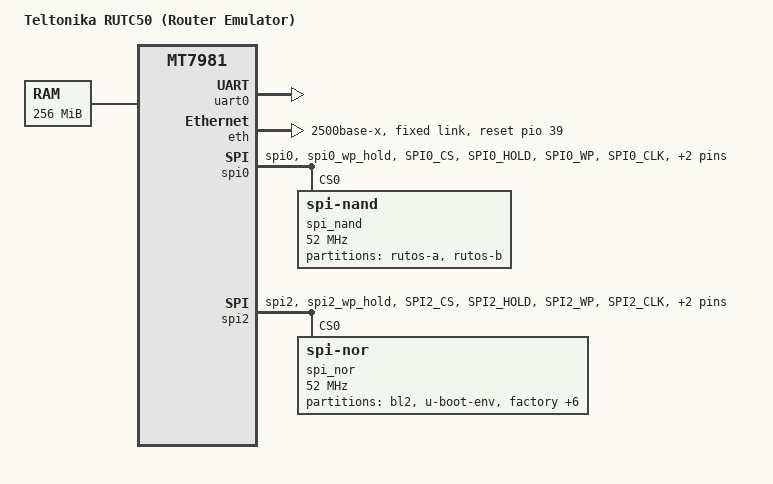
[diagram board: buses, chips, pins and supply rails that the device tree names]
// SPDX-License-Identifier: GPL-2.0
/*
 * Teltonika RUTC50 for the Router Emulator: the MT7981 RFB SPI-NOR U-Boot
 * with the RUTC50 flash layout (SPI-NOR bootloader + config, SPI-NAND
 * rutos-a / rutos-b UBI), replacing the Teltonika bootloader.
 * Based on mt7981-rfb.dts, Copyright (c) 2022 MediaTek Inc.
 */

/dts-v1/;
#include "mt7981.dtsi"
#include <dt-bindings/gpio/gpio.h>

/ {
	#address-cells = <1>;
	#size-cells = <1>;
	model = "Teltonika RUTC50 (Router Emulator)";
	compatible = "teltonika,rutc50", "mediatek,mt7981";
	chosen {
		stdout-path = &uart0;
		tick-timer = &timer0;
	};

	memory@40000000 {
		device_type = "memory";
		reg = <0x40000000 0x10000000>;
	};
};

&uart0 {
	status = "okay";
};

&uart1 {
	pinctrl-names = "default";
	pinctrl-0 = <&uart1_pins>;
	status = "disabled";
};

&eth {
	status = "okay";
	mediatek,gmac-id = <0>;
	phy-mode = "2500base-x";
	mediatek,switch = "auto";
	reset-gpios = <&pio 39 GPIO_ACTIVE_HIGH>;

	fixed-link {
		speed = <2500>;
		full-duplex;
	};
};

&pio {
	spi_flash_pins: spi0-pins-func-1 {
		mux {
			function = "flash";
			groups = "spi0", "spi0_wp_hold";
		};

		conf-pu {
			pins = "SPI0_CS", "SPI0_HOLD", "SPI0_WP";
			drive-strength = <MTK_DRIVE_8mA>;
			bias-pull-up = <MTK_PUPD_SET_R1R0_11>;
		};

		conf-pd {
			pins = "SPI0_CLK", "SPI0_MOSI", "SPI0_MISO";
			drive-strength = <MTK_DRIVE_8mA>;
			bias-pull-down = <MTK_PUPD_SET_R1R0_11>;
		};
	};

	spi2_flash_pins: spi2-spi2-pins {
		mux {
			function = "spi";
			groups = "spi2", "spi2_wp_hold";
		};

		conf-pu {
			pins = "SPI2_CS", "SPI2_HOLD", "SPI2_WP";
			drive-strength = <MTK_DRIVE_8mA>;
			bias-pull-down = <MTK_PUPD_SET_R1R0_00>;
		};

		conf-pd {
			pins = "SPI2_CLK", "SPI2_MOSI", "SPI2_MISO";
			drive-strength = <MTK_DRIVE_8mA>;
			bias-pull-down = <MTK_PUPD_SET_R1R0_00>;
		};
	};

	spic_pins: spi1-pins-func-1 {
		mux {
			function = "spi";
			groups = "spi1_1";
		};
	};

	uart1_pins: spi1-pins-func-3 {
		mux {
			function = "uart";
			groups = "uart1_2";
		};
	};

	/* pin15 as pwm0 */
	one_pwm_pins: one-pwm-pins {
		mux {
			function = "pwm";
			groups = "pwm0_1";
		};
	};

	/* pin15 as pwm0 and pin14 as pwm1 */
	two_pwm_pins: two-pwm-pins {
		mux {
			function = "pwm";
			groups = "pwm0_1", "pwm1_0";
		};
	};

	/* pin15 as pwm0, pin14 as pwm1, pin7 as pwm2 */
	three_pwm_pins: three-pwm-pins {
		mux {
			function = "pwm";
			groups = "pwm0_1", "pwm1_0", "pwm2";
		};
	};

	/* pin13 as pwm0, pin15 as pwm1, pin7 as pwm2 */
	three_pwm_pins_1: three-pwm-pins {
		mux {
			function = "pwm";
			groups = "pwm0_0", "pwm1_1", "pwm2";
		};
	};
};

&spi0 {
	#address-cells = <1>;
	#size-cells = <0>;
	pinctrl-names = "default";
	pinctrl-0 = <&spi_flash_pins>;
	status = "okay";
	enhance_timing;
	dma_ext;
	ipm_design;
	support_quad;
	tick_dly = <2>;
	sample_sel = <0>;

	spi_nand@0 {
		compatible = "spi-nand";
		reg = <0>;
		spi-max-frequency = <52000000>;
		spi-rx-bus-width = <4>;
		spi-tx-bus-width = <4>;

		partitions {
			compatible = "fixed-partitions";
			#address-cells = <1>;
			#size-cells = <1>;

			partition@0 {
				label = "rutos-a";
				reg = <0x00000000 0x10000000>;
			};

			partition@10000000 {
				label = "rutos-b";
				reg = <0x10000000 0x10000000>;
			};
		};
	};
};

&spi2 {
	#address-cells = <1>;
	#size-cells = <0>;
	pinctrl-names = "default";
	pinctrl-0 = <&spi2_flash_pins>;
	status = "okay";
	enhance_timing;
	dma_ext;
	ipm_design;
	support_quad;
	tick_dly = <2>;
	sample_sel = <0>;

	spi_nor@0 {
		compatible = "jedec,spi-nor";
		reg = <0>;
		spi-max-frequency = <52000000>;
		spi-rx-bus-width = <4>;
		spi-tx-bus-width = <4>;

		partitions {
			compatible = "fixed-partitions";
			#address-cells = <1>;
			#size-cells = <1>;

			partition@0 {
				label = "bl2";
				reg = <0x000000 0x040000>;
			};

			partition@40000 {
				label = "u-boot-env";
				reg = <0x040000 0x010000>;
			};

			partition@50000 {
				label = "factory";
				reg = <0x050000 0x0a0000>;
			};

			partition@f0000 {
				label = "config";
				reg = <0x0f0000 0x010000>;
			};

			partition@100000 {
				label = "fip";
				reg = <0x100000 0x100000>;
			};

			partition@200000 {
				label = "bootconfig-a";
				reg = <0x200000 0x010000>;
			};

			partition@210000 {
				label = "bootconfig-b";
				reg = <0x210000 0x010000>;
			};

			partition@220000 {
				label = "event-log";
				reg = <0x220000 0x090000>;
			};

			partition@2b0000 {
				label = "recovery";
				reg = <0x2b0000 0xd50000>;
			};
		};
	};
};

&watchdog {
	status = "disabled";
};
